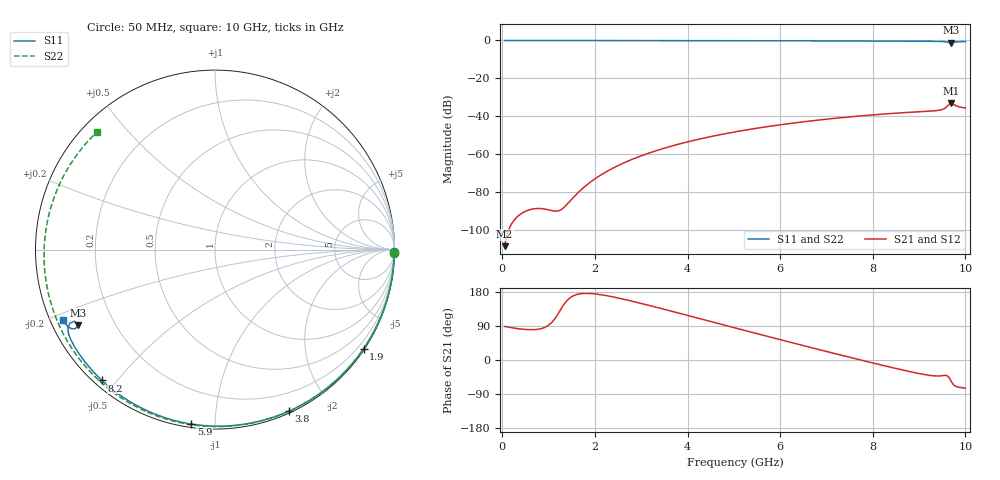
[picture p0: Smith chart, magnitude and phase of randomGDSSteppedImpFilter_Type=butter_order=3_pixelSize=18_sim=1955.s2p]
! freq	dB(S11)	phase(S11)	dB(S12)	phase(S12)
!  dB(S21)	phase(S21)	dB(S22)	phase(S22)
!S-par simulation data
#  GHz  S  DB  R 50
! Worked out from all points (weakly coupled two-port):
!   200 points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, 50 MHz to 10 GHz, reference 50 ohm
!   highest |S21| = -33.20 dB at 9.7 GHz (marker M1); lowest = -108.6 dB at 50 MHz (marker M2)
!   lowest |S11| = -1.2 dB at 9.7 GHz (marker M3), VSWR 14.59, Z = 3.65 - j12.8 ohm
!   |S11| at or under -10 dB: nowhere
!   |S22| runs from -0.6 to 0.0 dB; largest |S21 - S12| = 0
!   S11 on the Smith chart (normalised r, x): 50 MHz: open; 1.9 GHz: 0.03, -3.30; 3.8 GHz: 0.02, -1.56; 5.9 GHz: 0.02, -0.87; 8.2 GHz: 0.02, -0.46; 10 GHz: 0.04, -0.22
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0.05  -0.00 -0.9  -108.62 88.8  -108.62 88.8  -0.00 -1.2
0.8  -0.02 -14.3  -88.72 81.6  -88.72 81.6  -0.03 -19.5
1.65  -0.04 -29.3  -80.03 174.0  -80.03 174.0  -0.05 -39.9
1.75  -0.04 -31.1  -77.80 175.6  -77.80 175.6  -0.05 -42.2
1.9  -0.04 -33.7  -74.83 175.5  -74.83 175.5  -0.06 -45.8
2.2  -0.05 -38.8  -69.97 170.9  -69.97 170.9  -0.07 -52.7
2.55  -0.06 -44.8  -65.49 162.3  -65.49 162.3  -0.08 -60.7
3.4  -0.08 -59.0  -57.62 136.8  -57.62 136.8  -0.10 -79.6
3.8  -0.09 -65.4  -54.81 124.1  -54.81 124.1  -0.12 -88.3
5.05  -0.13 -85.0  -48.17 83.9  -48.17 83.9  -0.17 -114.4
5.9  -0.17 -97.8  -44.87 56.8  -44.87 56.8  -0.23 -131.8
6.7  -0.21 -109.4  -42.38 31.8  -42.38 31.8  -0.28 -148.2
7.45  -0.26 -120.2  -40.48 8.7  -40.48 8.7  -0.35 -164.0
8.2  -0.33 -130.8  -38.93 -13.7  -38.93 -13.7  -0.43 179.6
8.35  -0.34 -133.0  -38.66 -18.1  -38.66 -18.1  -0.44 176.2
8.9  -0.40 -140.9  -37.79 -33.2  -37.79 -33.2  -0.51 163.3
9.45  -0.52 -149.9  -36.78 -42.1  -36.78 -42.1  -0.58 149.6
9.55  -0.66 -152.1  -35.92 -40.6  -35.92 -40.6  -0.59 147.0
9.65  -1.14 -152.9  -33.66 -46.4  -33.66 -46.4  -0.61 144.4
9.7  -1.19 -151.1  -33.20 -57.8  -33.20 -57.8  -0.61 143.1
9.85  -0.69 -152.2  -34.97 -71.6  -34.97 -71.6  -0.63 139.0
10  -0.60 -155.0  -35.57 -74.4  -35.57 -74.4  -0.65 134.9
